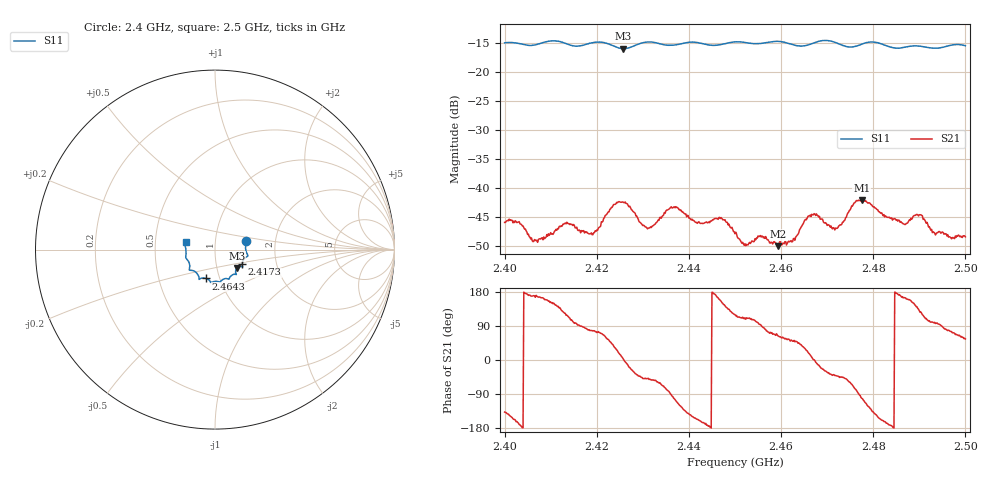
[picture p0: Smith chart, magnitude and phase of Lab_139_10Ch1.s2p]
# Hz S RI R 50
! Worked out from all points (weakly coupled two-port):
!   601 points, 2.4 GHz to 2.5 GHz, reference 50 ohm
!   highest |S21| = -42.13 dB at 2.4775 GHz (marker M1); lowest = -50.1 dB at 2.4593 GHz (marker M2)
!   lowest |S11| = -15.9 dB at 2.4257 GHz (marker M3), VSWR 1.38, Z = 62.5 - j13.1 ohm
!   |S11| at or under -10 dB: start of sweep to end of sweep
!   S12 and S22 are empty: the file has one direction only
!   S11 on the Smith chart (normalised r, x): 2.4 GHz: 1.41, +0.14; 2.4173 GHz: 1.34, -0.23; 2.4643 GHz: 0.86, -0.28; 2.5 GHz: 0.72, +0.06
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2.4e9  0.173 0.0485  -0.00368 -0.0034  0 0  0 0
2.406667e9  0.1722 -0.00615  -0.00342 0.000885  0 0  0 0
2.413167e9  0.1729 -0.0421  -0.0027 0.00414  0 0  0 0
2.416667e9  0.1527 -0.0744  4.29e-05 0.00426  0 0  0 0
2.417333e9  0.152 -0.0818  0.000313 0.00405  0 0  0 0
2.425667e9  0.1227 -0.1022  0.00752 0.000564  0 0  0 0
2.4305e9  0.1182 -0.1377  0.00308 -0.0034  0 0  0 0
2.433333e9  0.1129 -0.1373  0.00269 -0.00453  0 0  0 0
2.437167e9  0.0864 -0.1495  -0.00209 -0.00653  0 0  0 0
2.442e9  0.0742 -0.1643  -0.00464 -0.00194  0 0  0 0
2.447e9  0.0402 -0.169  -0.005 0.00233  0 0  0 0
2.45e9  0.0288 -0.1809  -0.00198 0.00348  0 0  0 0
2.452333e9  0.0211 -0.1793  -0.000945 0.003  0 0  0 0
2.459333e9  -0.0231 -0.1834  0.00139 0.00279  0 0  0 0
2.464333e9  -0.0499 -0.1607  0.00346 0.00295  0 0  0 0
2.466667e9  -0.076 -0.1594  0.00585 0.000744  0 0  0 0
2.471833e9  -0.0882 -0.1577  0.00338 -0.00294  0 0  0 0
2.4775e9  -0.1312 -0.1154  -0.00148 -0.00768  0 0  0 0
2.483333e9  -0.1408 -0.0899  -0.00547 -0.000904  0 0  0 0
2.49e9  -0.1635 -0.0406  -0.00373 0.00449  0 0  0 0
2.493333e9  -0.1611 -0.0102  -0.000659 0.00401  0 0  0 0
2.5e9  -0.1641 0.0429  0.00213 0.00309  0 0  0 0
